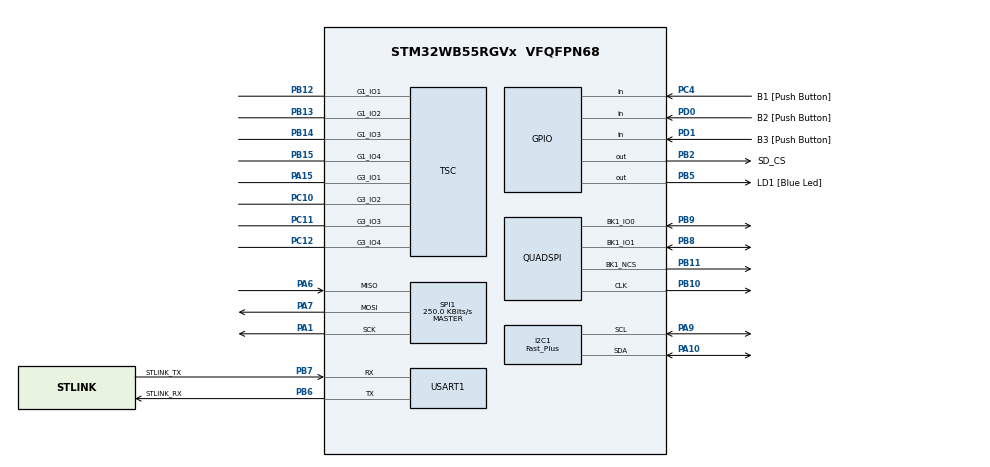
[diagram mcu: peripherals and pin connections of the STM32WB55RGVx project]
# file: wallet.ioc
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Dma.Request0=USART1_RX
Dma.USART1_RX.0.Direction=DMA_PERIPH_TO_MEMORY
Dma.USART1_RX.0.EventEnable=DISABLE
Dma.USART1_RX.0.Instance=DMA1_Channel1
Dma.USART1_RX.0.MemDataAlignment=DMA_MDATAALIGN_BYTE
Dma.USART1_RX.0.MemInc=DMA_MINC_ENABLE
Dma.USART1_RX.0.Mode=DMA_NORMAL
Dma.USART1_RX.0.PeriphDataAlignment=DMA_PDATAALIGN_BYTE
Dma.USART1_RX.0.PeriphInc=DMA_PINC_DISABLE
Dma.USART1_RX.0.Polarity=HAL_DMAMUX_REQ_GEN_RISING
Dma.USART1_RX.0.Priority=DMA_PRIORITY_LOW
Dma.USART1_RX.0.RequestNumber=1
Dma.USART1_RX.0.SignalID=NONE
Dma.USART1_RX.0.SyncEnable=DISABLE
Dma.USART1_RX.0.SyncPolarity=HAL_DMAMUX_SYNC_NO_EVENT
Dma.USART1_RX.0.SyncRequestNumber=1
Dma.USART1_RX.0.SyncSignalID=NONE
FATFS.DISKIO_CODE=0
FATFS._FS_TINY=0
FATFS._USE_FIND=1
FREERTOS.Tasks01=defaultTask,24,512,StartDefaultTask,Default,NULL,Dynamic,NULL,NULL
FREERTOS.configMINIMAL_STACK_SIZE=512
FREERTOS.configTOTAL_HEAP_SIZE=32768
I2C1.CustomTiming=Disabled
I2C1.I2C_Speed_Mode=I2C_Fast_Plus
I2C1.Speed=800
I2C1.Timing=0x00100718
Mcu.Family=STM32WB
Mcu.Name=STM32WB55RGVx
Mcu.Package=VFQFPN68
NVIC.DMA1_Channel1_IRQn=true\:5\:0\:false\:false\:true\:true\:false\:true
NVIC.PriorityGroup=NVIC_PRIORITYGROUP_4
NVIC.TIM1_UP_TIM16_IRQn=true\:15\:0\:false\:false\:true\:false\:false\:true
NVIC.TSC_IRQn=true\:5\:0\:false\:false\:true\:true\:true\:true
NVIC.TimeBase=TIM1_UP_TIM16_IRQn
NVIC.TimeBaseIP=TIM1
NVIC.USART1_IRQn=true\:5\:0\:false\:false\:true\:true\:true\:true
OSC_IN.Signal=RCC_OSC_IN
OSC_OUT.Signal=RCC_OSC_OUT
PA1.GPIO_PuPd=GPIO_PULLUP
PA1.GPIO_Speed=GPIO_SPEED_FREQ_VERY_HIGH
PA1.Mode=Full_Duplex_Master
PA1.Signal=SPI1_SCK
PA10.GPIO_Pu=GPIO_PULLUP
PA10.GPIO_Speed=GPIO_SPEED_FREQ_VERY_HIGH
PA10.Mode=I2C
PA10.Signal=I2C1_SDA
PA11.Signal=USB_DM
PA12.Signal=USB_DP
PA13.GPIO_Label=JTMS
PA13.Signal=SYS_JTMS-SWDIO
PA14.GPIO_Label=JTCK
PA14.Signal=SYS_JTCK-SWCLK
PA15.Mode=G3_IO1-Sampling
PA15.Signal=TSC_G3_IO1
PA2.Signal=LPUART1_TX
PA3.Signal=LPUART1_RX
PA6.GPIO_PuPd=GPIO_PULLUP
PA6.GPIO_Speed=GPIO_SPEED_FREQ_VERY_HIGH
PA6.Mode=Full_Duplex_Master
PA6.Signal=SPI1_MISO
PA7.GPIO_PuPd=GPIO_PULLUP
PA7.GPIO_Speed=GPIO_SPEED_FREQ_VERY_HIGH
PA7.Mode=Full_Duplex_Master
PA7.Signal=SPI1_MOSI
PA9.GPIO_Pu=GPIO_PULLUP
PA9.GPIO_Speed=GPIO_SPEED_FREQ_VERY_HIGH
PA9.Mode=I2C
PA9.Signal=I2C1_SCL
PB10.GPIO_Speed=GPIO_SPEED_FREQ_VERY_HIGH
PB10.Mode=Single Bank 1 2IOs
PB10.Signal=QUADSPI_CLK
PB11.GPIO_PuPd=GPIO_NOPULL
PB11.GPIO_Speed=GPIO_SPEED_FREQ_VERY_HIGH
PB11.Mode=Single Bank 1 2IOs
PB11.Signal=QUADSPI_BK1_NCS
PB12.Mode=G1_IO1-Sampling
PB12.Signal=TSC_G1_IO1
PB13.Mode=G1_IO2-Channel
PB13.Signal=TSC_G1_IO2
PB14.Mode=G1_IO3-Channel
PB14.Signal=TSC_G1_IO3
PB15.Mode=G1_IO4-Channel
PB15.Signal=TSC_G1_IO4
PB2.GPIO_Label=SD_CS
PB2.Signal=GPIO_Output
PB3.GPIO_Label=JTDO
PB3.Signal=SYS_JTDO-SWO
PB5.GPIO_Label=LD1 [Blue Led]
PB5.Signal=GPIO_Output
PB6.GPIO_Label=STLINK_RX
PB6.Mode=Asynchronous
PB6.Signal=USART1_TX
PB7.GPIO_Label=STLINK_TX
PB7.Mode=Asynchronous
PB7.Signal=USART1_RX
PB8.GPIO_FM8=SYSCFG_FASTMODEPLUS_PB8
PB8.GPIO_Speed=GPIO_SPEED_FREQ_VERY_HIGH
PB8.Mode=Single Bank 1 2IOs
PB8.Signal=QUADSPI_BK1_IO1
PB9.GPIO_FM9=SYSCFG_FASTMODEPLUS_PB9
PB9.GPIO_Speed=GPIO_SPEED_FREQ_VERY_HIGH
PB9.Mode=Single Bank 1 2IOs
PB9.Signal=QUADSPI_BK1_IO0
PC10.Mode=G3_IO2-Channel
PC10.Signal=TSC_G3_IO2
PC11.Mode=G3_IO3-Channel
PC11.Signal=TSC_G3_IO3
PC12.Mode=G3_IO4-Channel
PC12.Signal=TSC_G3_IO4
PC13.Signal=SYS_WKUP2
PC14-OSC32_IN.Signal=RCC_OSC32_IN
PC15-OSC32_OUT.Signal=RCC_OSC32_OUT
PC4.GPIO_Label=B1 [Push Button]
PC4.Signal=GPIO_Input
PD0.GPIO_Label=B2 [Push Button]
PD0.Signal=GPIO_Input
PD1.GPIO_Label=B3 [Push Button]
PD1.Signal=GPIO_Input
ProjectManager.HeapSize=0x200
ProjectManager.StackSize=0x400
ProjectManager.TargetToolchain=Makefile
QUADSPI.ChipSelectHighTime=QSPI_CS_HIGH_TIME_8_CYCLE
QUADSPI.ClockPrescaler=15
QUADSPI.FifoThreshold=32
QUADSPI.FlashSize=25
RCC.ADCFreq_Value=128000000
RCC.AHBFreq_Value=32000000
RCC.APB1Freq_Value=32000000
RCC.APB1TimFreq_Value=32000000
RCC.APB2Freq_Value=32000000
RCC.APB2TimFreq_Value=32000000
RCC.APB3Freq_Value=16000000
RCC.CortexFreq_Value=32000000
RCC.HCLKFreq_Value=32000000
RCC.HSE_VALUE=32000000
RCC.HSI48_VALUE=48000000
RCC.HSI_VALUE=16000000
RCC.LSE_VALUE=32768
RCC.MSIClockRange=RCC_MSIRANGE_10
RCC.SMPSCLockSelectionVirtual=RCC_SMPSCLKSOURCE_HSI
RCC.SMPSCLockSelectionVirtualVirtual=RCC_SMPSCLKSOURCE_HSI
RCC.SMPSDivider=1
RCC.SYSCLKFreq_VALUE=32000000
RCC.USBFreq_Value=128000000
RCC.VCOOutputFreq_Value=256000000
SPI1.BaudRatePrescaler=SPI_BAUDRATEPRESCALER_128
SPI1.CalculateBaudRate=250.0 KBits/s
SPI1.DataSize=SPI_DATASIZE_8BIT
SPI1.Direction=SPI_DIRECTION_2LINES
SPI1.Mode=SPI_MODE_MASTER
SPI1.VirtualType=VM_MASTER
TSC.ChannelIOs-G1_IO2=TSC_GROUP1_IO2
TSC.ChannelIOs-G1_IO3=TSC_GROUP1_IO3
TSC.ChannelIOs-G1_IO4=TSC_GROUP1_IO4
TSC.ChannelIOs-G3_IO2=TSC_GROUP3_IO2
TSC.ChannelIOs-G3_IO3=TSC_GROUP3_IO3
TSC.ChannelIOs-G3_IO4=TSC_GROUP3_IO4
TSC.SamplingIOs-G1_IO1=TSC_GROUP1_IO1
TSC.SamplingIOs-G3_IO1=TSC_GROUP3_IO1
USART1.FIFOMode=FIFOMODE_ENABLE
USART1.RXFIFOThreshold=RXFIFO_THRESHOLD_FULL
USART1.TXFIFOThreshold=TXFIFO_THRESHOLD_HALFFULL
USART1.VirtualMode-Asynchronous=VM_ASYNC
VP_FATFS_VS_Generic.Mode=User_defined
VP_FREERTOS_VS_CMSIS_V2.Mode=CMSIS_V2
VP_RNG_VS_RNG.Mode=RNG_Activate
VP_SYS_VS_tim1.Mode=TIM1
board=NUCLEO-WB55RG

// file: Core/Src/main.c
/* USER CODE BEGIN Header */
/**
  ******************************************************************************
  * @file           : main.c
  * @brief          : Main program body
  ******************************************************************************
  * @attention
  *
  * <h2><center>&copy; Copyright (c) 2021 STMicroelectronics.
  * All rights reserved.</center></h2>
  *
  * This software component is licensed by ST under Ultimate Liberty license
  * SLA0044, the "License"; You may not use this file except in compliance with
  * the License. You may obtain a copy of the License at:
  *                             www.st.com/SLA0044
  *
  ******************************************************************************
  */
/* USER CODE END Header */
#include "main.h"
#include "cmsis_os.h"
#include "app_fatfs.h"

/* USER CODE BEGIN Includes */
#include <stdio.h>
#include "lcd_ui.h"
#include "kern.h"
#include "run.h"
/* USER CODE END Includes */

I2C_HandleTypeDef hi2c1;

QSPI_HandleTypeDef hqspi;

RNG_HandleTypeDef hrng;

SPI_HandleTypeDef hspi1;

TSC_HandleTypeDef htsc;

UART_HandleTypeDef huart1;
DMA_HandleTypeDef hdma_usart1_rx;

/* Definitions for defaultTask */
osThreadId_t defaultTaskHandle;
const osThreadAttr_t defaultTask_attributes = {
  .name = "defaultTask",
  .priority = (osPriority_t) osPriorityNormal,
  .stack_size = 512 * 4
};
/* USER CODE BEGIN PV */
osThreadId lcd_task = NULL;
/* USER CODE END PV */

void SystemClock_Config(void);
static void MX_GPIO_Init(void);
static void MX_USART1_UART_Init(void);
static void MX_I2C1_Init(void);
static void MX_QUADSPI_Init(void);
static void MX_RNG_Init(void);
static void MX_TSC_Init(void);
static void MX_DMA_Init(void);
static void MX_SPI1_Init(void);
void StartDefaultTask(void *argument);

int main(void)
{

  /* MCU Configuration--------------------------------------------------------*/

  /* Reset of all peripherals, Initializes the Flash interface and the Systick. */
  HAL_Init();

  /* Configure the system clock */
  SystemClock_Config();

  /* Initialize all configured peripherals */
  MX_DMA_Init();
  MX_GPIO_Init();
  MX_USART1_UART_Init();
  MX_I2C1_Init();
  MX_QUADSPI_Init();
  MX_RNG_Init();
  MX_TSC_Init();
  if (MX_FATFS_Init() != APP_OK) {
    Error_Handler();
  }
  MX_SPI1_Init();
  /* USER CODE BEGIN 2 */
  RetargetInit(&huart1);
  /* USER CODE END 2 */

  /* Init scheduler */
  osKernelInitialize();

  /* Create the thread(s) */
  /* creation of defaultTask */
  defaultTaskHandle = osThreadNew(StartDefaultTask, NULL, &defaultTask_attributes);

  /* Start scheduler */
  osKernelStart();

  /* We should never get here as control is now taken by the scheduler */
  /* Infinite loop */
  while (1)
  {

  }
}

void SystemClock_Config(void)
{
  RCC_OscInitTypeDef RCC_OscInitStruct = {0};
  RCC_ClkInitTypeDef RCC_ClkInitStruct = {0};
  RCC_PeriphCLKInitTypeDef PeriphClkInitStruct = {0};

  /** Configure the main internal regulator output voltage
  */
  __HAL_PWR_VOLTAGESCALING_CONFIG(PWR_REGULATOR_VOLTAGE_SCALE1);
  /** Initializes the RCC Oscillators according to the specified parameters
  * in the RCC_OscInitTypeDef structure.
  */
  RCC_OscInitStruct.OscillatorType = RCC_OSCILLATORTYPE_HSI|RCC_OSCILLATORTYPE_LSI1
                              |RCC_OSCILLATORTYPE_MSI;
  RCC_OscInitStruct.HSIState = RCC_HSI_ON;
  RCC_OscInitStruct.MSIState = RCC_MSI_ON;
  RCC_OscInitStruct.HSICalibrationValue = RCC_HSICALIBRATION_DEFAULT;
  RCC_OscInitStruct.MSICalibrationValue = RCC_MSICALIBRATION_DEFAULT;
  RCC_OscInitStruct.MSIClockRange = RCC_MSIRANGE_10;
  RCC_OscInitStruct.LSIState = RCC_LSI_ON;
  RCC_OscInitStruct.PLL.PLLState = RCC_PLL_NONE;
  if (HAL_RCC_OscConfig(&RCC_OscInitStruct) != HAL_OK)
  {
    Error_Handler();
  }
  /** Configure the SYSCLKSource, HCLK, PCLK1 and PCLK2 clocks dividers
  */
  RCC_ClkInitStruct.ClockType = RCC_CLOCKTYPE_HCLK4|RCC_CLOCKTYPE_HCLK2
                              |RCC_CLOCKTYPE_HCLK|RCC_CLOCKTYPE_SYSCLK
                              |RCC_CLOCKTYPE_PCLK1|RCC_CLOCKTYPE_PCLK2;
  RCC_ClkInitStruct.SYSCLKSource = RCC_SYSCLKSOURCE_MSI;
  RCC_ClkInitStruct.AHBCLKDivider = RCC_SYSCLK_DIV1;
  RCC_ClkInitStruct.APB1CLKDivider = RCC_HCLK_DIV1;
  RCC_ClkInitStruct.APB2CLKDivider = RCC_HCLK_DIV1;
  RCC_ClkInitStruct.AHBCLK2Divider = RCC_SYSCLK_DIV1;
  RCC_ClkInitStruct.AHBCLK4Divider = RCC_SYSCLK_DIV1;

  if (HAL_RCC_ClockConfig(&RCC_ClkInitStruct, FLASH_LATENCY_1) != HAL_OK)
  {
    Error_Handler();
  }
  /** Initializes the peripherals clocks
  */
  PeriphClkInitStruct.PeriphClockSelection = RCC_PERIPHCLK_SMPS|RCC_PERIPHCLK_USART1
                              |RCC_PERIPHCLK_I2C1|RCC_PERIPHCLK_RNG;
  PeriphClkInitStruct.Usart1ClockSelection = RCC_USART1CLKSOURCE_PCLK2;
  PeriphClkInitStruct.I2c1ClockSelection = RCC_I2C1CLKSOURCE_PCLK1;
  PeriphClkInitStruct.RngClockSelection = RCC_RNGCLKSOURCE_LSI;
  PeriphClkInitStruct.SmpsClockSelection = RCC_SMPSCLKSOURCE_HSI;
  PeriphClkInitStruct.SmpsDivSelection = RCC_SMPSCLKDIV_RANGE0;
  if (HAL_RCCEx_PeriphCLKConfig(&PeriphClkInitStruct) != HAL_OK)
  {
    Error_Handler();
  }
}

static void MX_I2C1_Init(void)
{

  hi2c1.Instance = I2C1;
  hi2c1.Init.Timing = 0x00100718;
  hi2c1.Init.OwnAddress1 = 0;
  hi2c1.Init.AddressingMode = I2C_ADDRESSINGMODE_7BIT;
  hi2c1.Init.DualAddressMode = I2C_DUALADDRESS_DISABLE;
  hi2c1.Init.OwnAddress2 = 0;
  hi2c1.Init.OwnAddress2Masks = I2C_OA2_NOMASK;
  hi2c1.Init.GeneralCallMode = I2C_GENERALCALL_DISABLE;
  hi2c1.Init.NoStretchMode = I2C_NOSTRETCH_DISABLE;
  if (HAL_I2C_Init(&hi2c1) != HAL_OK)
  {
    Error_Handler();
  }
  /** Configure Analogue filter
  */
  if (HAL_I2CEx_ConfigAnalogFilter(&hi2c1, I2C_ANALOGFILTER_ENABLE) != HAL_OK)
  {
    Error_Handler();
  }
  /** Configure Digital filter
  */
  if (HAL_I2CEx_ConfigDigitalFilter(&hi2c1, 0) != HAL_OK)
  {
    Error_Handler();
  }
  /** I2C Enable Fast Mode Plus
  */
  HAL_I2CEx_EnableFastModePlus(I2C_FASTMODEPLUS_I2C1);

}

static void MX_QUADSPI_Init(void)
{

  /* QUADSPI parameter configuration*/
  hqspi.Instance = QUADSPI;
  hqspi.Init.ClockPrescaler = 15;
  hqspi.Init.FifoThreshold = 32;
  hqspi.Init.SampleShifting = QSPI_SAMPLE_SHIFTING_NONE;
  hqspi.Init.FlashSize = 25;
  hqspi.Init.ChipSelectHighTime = QSPI_CS_HIGH_TIME_8_CYCLE;
  hqspi.Init.ClockMode = QSPI_CLOCK_MODE_0;
  if (HAL_QSPI_Init(&hqspi) != HAL_OK)
  {
    Error_Handler();
  }
  /* USER CODE BEGIN QUADSPI_Init 2 */
  QSPI_CommandTypeDef      s_command;
  QSPI_MemoryMappedTypeDef s_mem_mapped_cfg;

  /* Configure the command for the read instruction */
  s_command.Instruction       = 0x3b;
  s_command.InstructionMode   = QSPI_INSTRUCTION_1_LINE;
  s_command.AddressMode       = QSPI_ADDRESS_1_LINE;
  s_command.AddressSize       = QSPI_ADDRESS_24_BITS;
  s_command.AlternateByteMode = QSPI_ALTERNATE_BYTES_NONE;
  s_command.DdrMode           = QSPI_DDR_MODE_DISABLE;
  s_command.DataMode          = QSPI_DATA_2_LINES;
  s_command.DummyCycles       = 8;
  s_command.SIOOMode          = QSPI_SIOO_INST_EVERY_CMD;

  /* Configure the memory mapped mode */
  s_mem_mapped_cfg.TimeOutActivation = QSPI_TIMEOUT_COUNTER_DISABLE;
  s_mem_mapped_cfg.TimeOutPeriod     = 0;

  if (HAL_QSPI_MemoryMapped(&hqspi, &s_command, &s_mem_mapped_cfg) != HAL_OK)
  {
    Error_Handler();
  }
  /* USER CODE END QUADSPI_Init 2 */

}

static void MX_RNG_Init(void)
{

  hrng.Instance = RNG;
  hrng.Init.ClockErrorDetection = RNG_CED_ENABLE;
  if (HAL_RNG_Init(&hrng) != HAL_OK)
  {
    Error_Handler();
  }

}

static void MX_SPI1_Init(void)
{

  /* SPI1 parameter configuration*/
  hspi1.Instance = SPI1;
  hspi1.Init.Mode = SPI_MODE_MASTER;
  hspi1.Init.Direction = SPI_DIRECTION_2LINES;
  hspi1.Init.DataSize = SPI_DATASIZE_8BIT;
  hspi1.Init.CLKPolarity = SPI_POLARITY_LOW;
  hspi1.Init.CLKPhase = SPI_PHASE_1EDGE;
  hspi1.Init.NSS = SPI_NSS_SOFT;
  hspi1.Init.BaudRatePrescaler = SPI_BAUDRATEPRESCALER_128;
  hspi1.Init.FirstBit = SPI_FIRSTBIT_MSB;
  hspi1.Init.TIMode = SPI_TIMODE_DISABLE;
  hspi1.Init.CRCCalculation = SPI_CRCCALCULATION_DISABLE;
  hspi1.Init.CRCPolynomial = 7;
  hspi1.Init.CRCLength = SPI_CRC_LENGTH_DATASIZE;
  hspi1.Init.NSSPMode = SPI_NSS_PULSE_ENABLE;
  if (HAL_SPI_Init(&hspi1) != HAL_OK)
  {
    Error_Handler();
  }

}

static void MX_TSC_Init(void)
{

  /** Configure the TSC peripheral
  */
  htsc.Instance = TSC;
  htsc.Init.CTPulseHighLength = TSC_CTPH_2CYCLES;
  htsc.Init.CTPulseLowLength = TSC_CTPL_2CYCLES;
  htsc.Init.SpreadSpectrum = DISABLE;
  htsc.Init.SpreadSpectrumDeviation = 1;
  htsc.Init.SpreadSpectrumPrescaler = TSC_SS_PRESC_DIV1;
  htsc.Init.PulseGeneratorPrescaler = TSC_PG_PRESC_DIV4;
  htsc.Init.MaxCountValue = TSC_MCV_8191;
  htsc.Init.IODefaultMode = TSC_IODEF_OUT_PP_LOW;
  htsc.Init.SynchroPinPolarity = TSC_SYNC_POLARITY_FALLING;
  htsc.Init.AcquisitionMode = TSC_ACQ_MODE_NORMAL;
  htsc.Init.MaxCountInterrupt = DISABLE;
  htsc.Init.ChannelIOs = TSC_GROUP1_IO2|TSC_GROUP1_IO3|TSC_GROUP1_IO4|TSC_GROUP3_IO2
                    |TSC_GROUP3_IO3|TSC_GROUP3_IO4;
  htsc.Init.ShieldIOs = 0;
  htsc.Init.SamplingIOs = TSC_GROUP1_IO1|TSC_GROUP3_IO1;
  if (HAL_TSC_Init(&htsc) != HAL_OK)
  {
    Error_Handler();
  }

}

static void MX_USART1_UART_Init(void)
{

  huart1.Instance = USART1;
  huart1.Init.BaudRate = 115200;
  huart1.Init.WordLength = UART_WORDLENGTH_8B;
  huart1.Init.StopBits = UART_STOPBITS_1;
  huart1.Init.Parity = UART_PARITY_NONE;
  huart1.Init.Mode = UART_MODE_TX_RX;
  huart1.Init.HwFlowCtl = UART_HWCONTROL_NONE;
  huart1.Init.OverSampling = UART_OVERSAMPLING_16;
  huart1.Init.OneBitSampling = UART_ONE_BIT_SAMPLE_DISABLE;
  huart1.Init.ClockPrescaler = UART_PRESCALER_DIV1;
  huart1.AdvancedInit.AdvFeatureInit = UART_ADVFEATURE_NO_INIT;
  if (HAL_UART_Init(&huart1) != HAL_OK)
  {
    Error_Handler();
  }
  if (HAL_UARTEx_SetTxFifoThreshold(&huart1, UART_TXFIFO_THRESHOLD_1_2) != HAL_OK)
  {
    Error_Handler();
  }
  if (HAL_UARTEx_SetRxFifoThreshold(&huart1, UART_RXFIFO_THRESHOLD_8_8) != HAL_OK)
  {
    Error_Handler();
  }
  if (HAL_UARTEx_EnableFifoMode(&huart1) != HAL_OK)
  {
    Error_Handler();
  }

}

static void MX_DMA_Init(void)
{

  /* DMA controller clock enable */
  __HAL_RCC_DMAMUX1_CLK_ENABLE();
  __HAL_RCC_DMA1_CLK_ENABLE();

  /* DMA interrupt init */
  /* DMA1_Channel1_IRQn interrupt configuration */
  HAL_NVIC_SetPriority(DMA1_Channel1_IRQn, 5, 0);
  HAL_NVIC_EnableIRQ(DMA1_Channel1_IRQn);

}

static void MX_GPIO_Init(void)
{
  GPIO_InitTypeDef GPIO_InitStruct = {0};

  /* GPIO Ports Clock Enable */
  __HAL_RCC_GPIOC_CLK_ENABLE();
  __HAL_RCC_GPIOB_CLK_ENABLE();
  __HAL_RCC_GPIOA_CLK_ENABLE();
  __HAL_RCC_GPIOD_CLK_ENABLE();

  /*Configure GPIO pin Output Level */
  HAL_GPIO_WritePin(GPIOB, SD_CS_Pin|LD1_Pin, GPIO_PIN_RESET);

  /*Configure GPIO pins : PA2 PA3 */
  GPIO_InitStruct.Pin = GPIO_PIN_2|GPIO_PIN_3;
  GPIO_InitStruct.Mode = GPIO_MODE_AF_PP;
  GPIO_InitStruct.Pull = GPIO_NOPULL;
  GPIO_InitStruct.Speed = GPIO_SPEED_FREQ_LOW;
  GPIO_InitStruct.Alternate = GPIO_AF8_LPUART1;
  HAL_GPIO_Init(GPIOA, &GPIO_InitStruct);

  /*Configure GPIO pin : B1_Pin */
  GPIO_InitStruct.Pin = B1_Pin;
  GPIO_InitStruct.Mode = GPIO_MODE_INPUT;
  GPIO_InitStruct.Pull = GPIO_NOPULL;
  HAL_GPIO_Init(B1_GPIO_Port, &GPIO_InitStruct);

  /*Configure GPIO pins : SD_CS_Pin LD1_Pin */
  GPIO_InitStruct.Pin = SD_CS_Pin|LD1_Pin;
  GPIO_InitStruct.Mode = GPIO_MODE_OUTPUT_PP;
  GPIO_InitStruct.Pull = GPIO_NOPULL;
  GPIO_InitStruct.Speed = GPIO_SPEED_FREQ_LOW;
  HAL_GPIO_Init(GPIOB, &GPIO_InitStruct);

  /*Configure GPIO pins : PA11 PA12 */
  GPIO_InitStruct.Pin = GPIO_PIN_11|GPIO_PIN_12;
  GPIO_InitStruct.Mode = GPIO_MODE_AF_PP;
  GPIO_InitStruct.Pull = GPIO_NOPULL;
  GPIO_InitStruct.Speed = GPIO_SPEED_FREQ_LOW;
  GPIO_InitStruct.Alternate = GPIO_AF10_USB;
  HAL_GPIO_Init(GPIOA, &GPIO_InitStruct);

  /*Configure GPIO pins : B2_Pin B3_Pin */
  GPIO_InitStruct.Pin = B2_Pin|B3_Pin;
  GPIO_InitStruct.Mode = GPIO_MODE_INPUT;
  GPIO_InitStruct.Pull = GPIO_NOPULL;
  HAL_GPIO_Init(GPIOD, &GPIO_InitStruct);

}

/* USER CODE BEGIN 4 */
//inline uint32_t rand(){
//  HAL_RNG_GenerateRandomNumber_IT(&hrng);
//  return HAL_RNG_ReadLastRandomNumber(&hrng);
//}

int read_pin(uint32_t grp,uint32_t io){
  TSC_IOConfigTypeDef sel;
  sel.ChannelIOs = io;
  sel.ShieldIOs = 0;
  sel.SamplingIOs = TSC_GROUP1_IO1|TSC_GROUP3_IO1;
  HAL_TSC_IODischarge(&htsc, ENABLE);
  HAL_TSC_IOConfig(&htsc,&sel);
  HAL_Delay(1);
  if (HAL_TSC_Start(&htsc) != HAL_OK) Error_Handler();
  while (HAL_TSC_GetState(&htsc) == HAL_TSC_STATE_BUSY);
  __HAL_TSC_CLEAR_FLAG(&htsc, (TSC_FLAG_EOA | TSC_FLAG_MCE));
  return HAL_TSC_GroupGetValue(&htsc,grp);
}
/* USER CODE END 4 */

void StartDefaultTask(void *argument)
{
  /* USER CODE BEGIN 5 */
  /* Infinite loop */
  //rember to make free set to zeros for seccccccccckckckckc
  const osThreadAttr_t lcd_attr = {
    .name = "lcd",
    .priority = (osPriority_t) osPriorityNormal1,
    .stack_size = 512 * 8
  };
  lcd_task = osThreadNew (lcd_ui_main,(void*)&hi2c1,&lcd_attr);
  if(lcd_task == NULL){
      printf("Failed to create task!!!!!!!\n");
  }
  printf("demo program becuse i dont want to use the lcd rn\n$>");
  char str[512] = {0};
  int b = 0;
  char ind[] = "$>";
  for (;;)
  {
    if (b < 511)
      str[b++] = getchar();
    if (str[b - 1] == 0x7f)
    { //bkspace
      if (b >= 2){
        b -= 2;
        printf("\b ");
      } else {
        b = 0;
      }
    }
    if (str[b - 1] == '\r')
    {
      printf("\n");
      str[b - 1] = 0;
      b = 0;
      wallet_main(str);
    }
    puts("\r\b");
    printf("%s", ind);
    for (int i = 0; i < b; i++)
      printf("%c", str[i]);
    osThreadYield();
  }
  /* USER CODE END 5 */
}

void HAL_TIM_PeriodElapsedCallback(TIM_HandleTypeDef *htim)
{
  if (htim->Instance == TIM1) {
    HAL_IncTick();
  }
}

void Error_Handler(void)
{
  __disable_irq();
  while (1)
  {
  }
}

/************************ (C) COPYRIGHT STMicroelectronics *****END OF FILE****/
